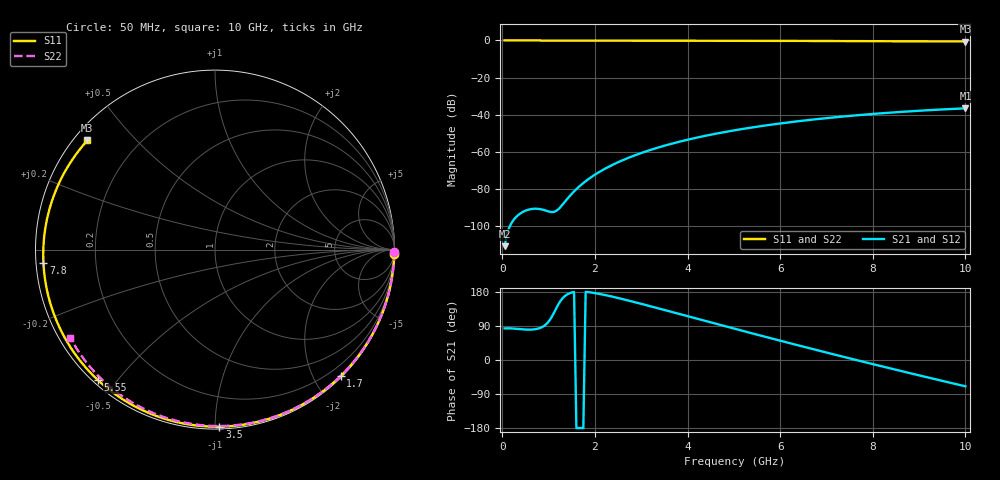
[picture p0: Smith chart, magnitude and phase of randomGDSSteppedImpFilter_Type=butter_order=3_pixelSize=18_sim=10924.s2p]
! freq	dB(S11)	phase(S11)	dB(S12)	phase(S12)
!  dB(S21)	phase(S21)	dB(S22)	phase(S22)
!S-par simulation data
#  GHz  S  DB  R 50
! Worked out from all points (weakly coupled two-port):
!   200 points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, 50 MHz to 10 GHz, reference 50 ohm
!   highest |S21| = -36.58 dB at 10 GHz (marker M1); lowest = -110.8 dB at 50 MHz (marker M2)
!   lowest |S11| = -0.6 dB at 10 GHz (marker M3), VSWR 30.13, Z = 1.89 + j18.4 ohm
!   |S11| at or under -10 dB: nowhere
!   |S22| runs from -0.5 to 0.0 dB; largest |S21 - S12| = 0
!   S11 on the Smith chart (normalised r, x): 50 MHz: 2, -87; 1.7 GHz: 0.02, -2.40; 3.5 GHz: 0.01, -1.02; 5.55 GHz: 0.01, -0.45; 7.8 GHz: 0.02, -0.04; 10 GHz: 0.04, +0.37
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0.05  -0.00 -1.3  -110.84 83.4  -110.84 83.4  -0.00 -0.8
0.45  -0.02 -12.2  -92.29 80.7  -92.29 80.7  -0.01 -7.7
0.8  -0.03 -21.6  -90.81 83.8  -90.81 83.8  -0.02 -13.6
1.2  -0.04 -32.2  -91.20 144.5  -91.20 144.5  -0.03 -20.4
1.6  -0.05 -42.6  -80.10 -179.8  -80.10 -179.8  -0.03 -27.0
1.7  -0.06 -45.2  -77.85 -179.4  -77.85 -179.4  -0.04 -28.7
1.75  -0.06 -46.5  -76.81 -179.7  -76.81 -179.7  -0.04 -29.5
2.05  -0.07 -54.1  -71.54 175.5  -71.54 175.5  -0.04 -34.5
2.45  -0.08 -64.0  -66.20 165.1  -66.20 165.1  -0.05 -41.0
2.9  -0.09 -74.7  -61.54 151.4  -61.54 151.4  -0.06 -48.2
3.4  -0.11 -86.3  -57.44 135.3  -57.44 135.3  -0.07 -56.1
3.5  -0.11 -88.6  -56.72 132.0  -56.72 132.0  -0.08 -57.7
4.25  -0.14 -105.1  -52.08 107.5  -52.08 107.5  -0.10 -69.2
5.05  -0.18 -121.8  -48.26 81.4  -48.26 81.4  -0.12 -81.0
5.55  -0.20 -131.9  -46.29 65.3  -46.29 65.3  -0.15 -88.3
6.15  -0.24 -143.7  -44.25 46.2  -44.25 46.2  -0.17 -96.8
6.7  -0.28 -154.4  -42.64 29.0  -42.64 29.0  -0.20 -104.4
7.25  -0.32 -165.0  -41.24 12.0  -41.24 12.0  -0.24 -111.9
7.8  -0.37 -175.7  -40.01 -4.8  -40.01 -4.8  -0.28 -119.3
8.35  -0.42 173.5  -38.94 -21.3  -38.94 -21.3  -0.33 -126.6
9.15  -0.49 157.4  -37.65 -44.9  -37.65 -44.9  -0.40 -137.2
10  -0.58 139.5  -36.58 -69.4  -36.58 -69.4  -0.50 -148.6
